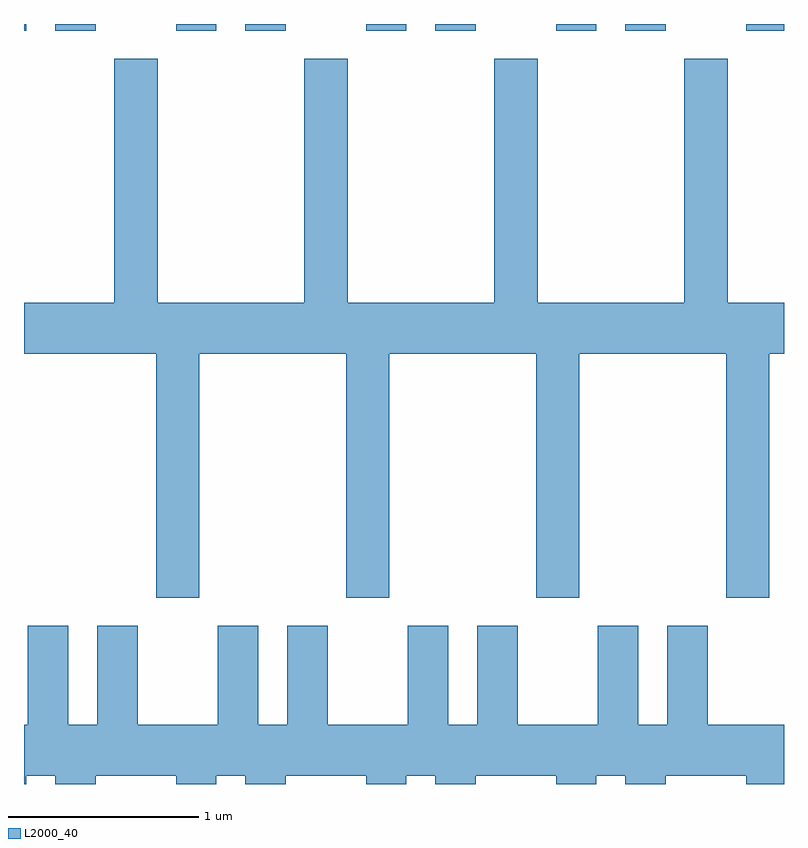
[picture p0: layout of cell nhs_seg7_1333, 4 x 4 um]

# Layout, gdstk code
import gdstk
lib = gdstk.Library(unit=1e-6, precision=1e-09)
def R(c, l, rs):  # rectangles x0, y0, x1, y1
    for r in rs: c.add(gdstk.rectangle(r[:2], r[2:], *l))
def P(c, l, *ps):  # polygons
    for p in ps: c.add(gdstk.Polygon(p, *l))
L2000_40 = (2000, 40)

nhs_seg7_1333 = lib.new_cell('nhs_seg7_1333')
R(nhs_seg7_1333, L2000_40, [(225.611,1738.216,225.624,1738.252), (225.776,1738.216,225.989,1738.252), (226.411,1738.216,226.624,1738.252), (226.776,1738.216,226.989,1738.252), (227.411,1738.216,227.624,1738.252), (227.776,1738.216,227.989,1738.252), (228.411,1738.216,228.624,1738.252), (228.776,1738.216,228.989,1738.252), (229.411,1738.216,229.611,1738.252)])
P(nhs_seg7_1333, L2000_40, [(229.306,1735.231),(229.534,1735.231),(229.534,1736.516),(229.611,1736.516),(229.611,1736.784),(229.314,1736.784),(229.314,1738.069),(229.086,1738.069),(229.086,1736.784),(228.314,1736.784),(228.314,1738.069),(228.086,1738.069),(228.086,1736.784),(227.314,1736.784),(227.314,1738.069),(227.086,1738.069),(227.086,1736.784),(226.314,1736.784),(226.314,1738.069),(226.086,1738.069),(226.086,1736.784),(225.611,1736.784),(225.611,1736.516),(226.306,1736.516),(226.306,1735.231),(226.534,1735.231),(226.534,1736.516),(227.306,1736.516),(227.306,1735.231),(227.534,1735.231),(227.534,1736.516),(228.306,1736.516),(228.306,1735.231),(228.534,1735.231),(228.534,1736.516),(229.306,1736.516)],
  [(225.624,1734.296),(225.776,1734.296),(225.776,1734.252),(225.989,1734.252),(225.989,1734.296),(226.411,1734.296),(226.411,1734.252),(226.624,1734.252),(226.624,1734.296),(226.776,1734.296),(226.776,1734.252),(226.989,1734.252),(226.989,1734.296),(227.411,1734.296),(227.411,1734.252),(227.624,1734.252),(227.624,1734.296),(227.776,1734.296),(227.776,1734.252),(227.989,1734.252),(227.989,1734.296),(228.411,1734.296),(228.411,1734.252),(228.624,1734.252),(228.624,1734.296),(228.776,1734.296),(228.776,1734.252),(228.989,1734.252),(228.989,1734.296),(229.411,1734.296),(229.411,1734.252),(229.611,1734.252),(229.611,1734.564),(229.209,1734.564),(229.209,1735.084),(228.996,1735.084),(228.996,1734.564),(228.844,1734.564),(228.844,1735.084),(228.631,1735.084),(228.631,1734.564),(228.209,1734.564),(228.209,1735.084),(227.996,1735.084),(227.996,1734.564),(227.844,1734.564),(227.844,1735.084),(227.631,1735.084),(227.631,1734.564),(227.209,1734.564),(227.209,1735.084),(226.996,1735.084),(226.996,1734.564),(226.844,1734.564),(226.844,1735.084),(226.631,1735.084),(226.631,1734.564),(226.209,1734.564),(226.209,1735.084),(225.996,1735.084),(225.996,1734.564),(225.844,1734.564),(225.844,1735.084),(225.631,1735.084),(225.631,1734.564),(225.611,1734.564),(225.611,1734.252),(225.624,1734.252)])

lib.write_gds('nhs_seg7_1333.gds')
